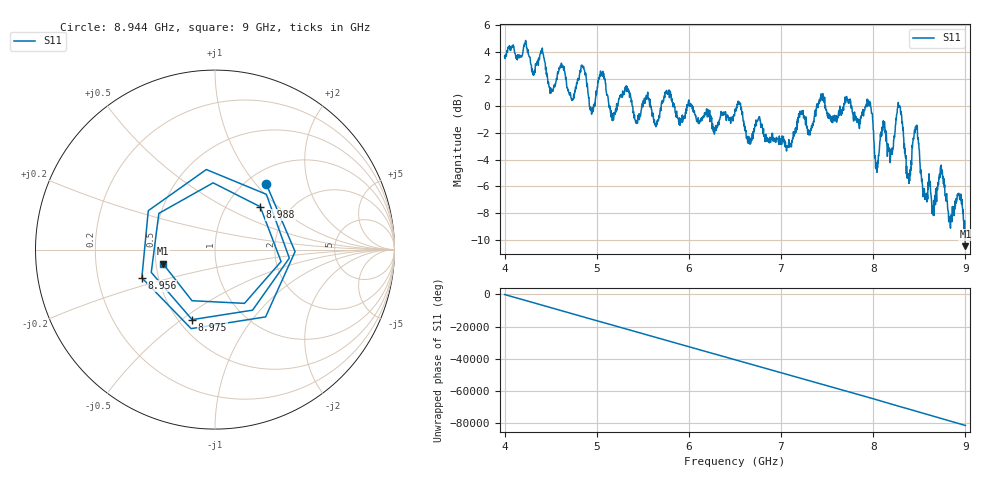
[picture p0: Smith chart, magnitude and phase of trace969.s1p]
! Created with skrf 1.8.0 (http://scikit-rf.org).
# Hz S RI R 50.0
!freq ReS11 ImS11
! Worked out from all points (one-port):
!   1601 points, 4 GHz to 9 GHz, reference 50 ohm
!   lowest |S11| = -10.5 dB at 9 GHz (marker M1), VSWR 1.86, Z = 27.2 - j4.72 ohm
!   |S11| at or under -10 dB: 8.996576 GHz to end of sweep
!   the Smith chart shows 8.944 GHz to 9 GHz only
!   S11 on the Smith chart (normalised r, x): 8.944 GHz: 1.22, +1.14; 8.956 GHz: 0.40, -0.16; 8.975 GHz: 0.58, -0.55; 8.988 GHz: 1.43, +0.77; 9 GHz: 0.54, -0.09
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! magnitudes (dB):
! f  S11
! 4 GHz  3.7
! 4.406 GHz  4.0
! 4.506 GHz  1.0
! 4.625 GHz  2.9
! 4.728 GHz  0.4
! 4.856 GHz  2.9
! 4.944 GHz  -0.6
! 5.05 GHz  2.3
! 5.159 GHz  -0.6
! 5.25 GHz  0.6
! 5.875 GHz  -0.8
! 6.5 GHz  -0.3
! 7.125 GHz  -2.4
! 7.441 GHz  0.7
! 7.75 GHz  0.5
! 7.959 GHz  0.1
! 8.041 GHz  -5.0
! 8.109 GHz  -1.1
! 8.197 GHz  -3.5
! 8.284 GHz  0.0
! 8.375 GHz  -5.0
! 8.462 GHz  -1.6
! 8.562 GHz  -6.6
! 8.944 GHz  -6.7
! 8.956 GHz  -7.2
! 8.975 GHz  -7.7
! 8.988 GHz  -9.2
! 9 GHz  -10.5
